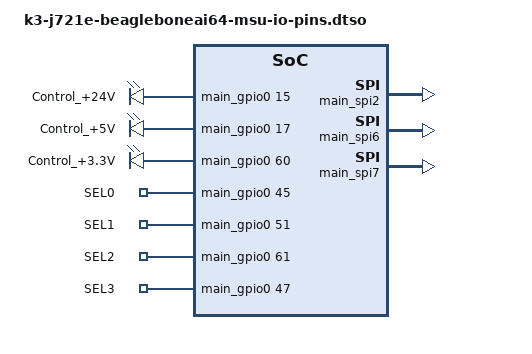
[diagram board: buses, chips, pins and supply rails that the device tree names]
// SPDX-License-Identifier: GPL-2.0-only OR MIT
/*
 * Original Copyright:
 * Copyright (C) 2026 Pranav Raja
 * DT Overlay for GPIOs
 * P8.15 & P8.18 GPIOs are enabled with this overlay.
 * Make sure the IO pins you are enabling are not being used by any other overlay.
 *
 * Copyright (c) D. Dudley <dudleyd@frib.msu.edu>, Michigan State University
 * Revisions:
 * 1. Started as io-pins
 * 2. Convert to Fragment format
 * 3. Incorporate new I/O pins structure
 *
 *  *
 * DT Overlay for GPIOs
 * P8.07 (24VON) [AD24],
 * P8.09 (5VON) [AE24],
 * P8.11 (3V3ON) [AB24],
 * P8.15 (SEL2) [AB29],
 * P8.26 (SEL1) [AC27],
 * P9.12 (SEL0) [AE27],
 * & P9.15 (SEL3) [AD25],
 *  GPIOs are enabled with this overlay.
 * Make sure the IO pins you are enabling are not being used by any other overlay.
 *
 * In addition, the SPI channels that are needed are incorporated in this
 *
 * SPI Definitions as defined in this overlay
 *
 * SPI0 - no clk or d0 pins.
 *  spi0.d1 = P9.17(0)
 *  spi0.cs0 = P8.33(0)
 *  spi0.cs2 = P9.42(2)
 *  spi0.cs3 = P9.27(2)
 *
 * SPI1 - no cs available on P8/P9.  Available on mikrobus connector
 *  spi1.clk = P9.26(0)
 *  spi1.d0 = P9.24(0)
 *  spi1.d1 = P9.18(0)
 *
 * SPI2
 *  spi2.d0 = P9.25(4)
 *  spi2.clk = P9.27(4)
 *  spi2.d1 = O9.41(4)
 *  spi2.cs0 = P9.42(4)
 *  spi2.cs3 = P9.28(4)
 *
 * SPI3 - no d1 pin, conflicts with spi6
 *  spi3.cs0 = P8.40(4)
 *  spi3.cs1 = P9.31(4)
 *  spi3.cs2 = P9.29(4)
 *  spi3.cs3 = P8.28(4)
 *  spi3.clk = P8.46(4)
 *  spi3,c9 = O9.40(4)
 *
 * SPI4 Not Available
 *
 * SPI5 Not Available
 *
 * SPI6
 *  spi6.clk = P9.22(4)
 *  spi6.d0 = P9.21(4)
 *  spi6.d1 = P9.18(4)
 *  spi6.cs0 = P9.17(4)
 *  spi6.cs1 = P9.23(4)
 *  spi6.cs2 = P8.37(4)
 *  spi6.cs3 - P8.21(4)
 *
 * SPI7
 *  spi7.cs0 = P9.28(6)
 *  spi7.d1 = P9.29(6)
 *  spi7.d0 = P9.30(6)
 *  spi7,clk = P9.31(6)
 *
 * Only certain combinations are valid
 *
 */


//
// This selects which SPI channels to include in here.
// 0 = don't include 1 = include

// No sclk or d0
#define WITH_SPI0 0

// Also on mikroBus.  No cs on connectors
#define WITH_SPI1 0

// Usable with cs0 - interferes with spi6
#define WITH_SPI2 1

// Can have cs0,cs1,cs2,cs3 no d1 (output only?)
#define WITH_SPI3 0

// SPI Channels 4 and 5 don't come out the headers
//

// One for normal use.  Could be defined with cs0,cs1,cs2,and cs3
#define WITH_SPI6 1

// Full channel with cs0
#define WITH_SPI7 1


/dts-v1/;
/plugin/;

#include <dt-bindings/gpio/gpio.h>
#include "ti/k3-pinctrl.h"


/
{
/*
 * Helper to show loaded overlays under: /proc/device-tree/chosen/overlays/
*/
    fragment@0
    {
        target-path = "/chosen";
        __overlay__
        {
            overlays
            {
   				msu-io-pins.kernel = __TIMESTAMP__;
                msu-iopins-bbai64-overlay.kernel = "msu-iopins-bbai64-overlay@600000 ";
#if WITH_SPI1
   				mcspi1-cs0.kernel = __TIMESTAMP__;
				mcspi1.2110000.spi = "msu-iopins-bbai64-overlay-spi-mcspi1-cs0.2110000";
#endif
#if WITH_SPI2
                mcspi2-cs0.kernel = __TIMESTAMP__;
                mcspi2.2120000.spi = "msu-iopins-bbai64-spi-mcspi2-cs0.2120000";
#endif
#if WITH_SPI3
                mcspi3-cs0.kernel = __TIMESTAMP__;
                mcspi3.2130000.spi = "msu-iopins-bbai64-overlay-spi-mcspi3-cs0.2130000";
#endif
#if WITH_SPI6
   				mcspi6-cs0-cs1.kernel = __TIMESTAMP__;
				mcspi6.2160000.spi = "msu-iopins-bbai64-overlay-spi-mcspi6-cs0-cs1.2160000";
#endif
#if WITH_SPI7
                spi-mcspi7-cs0.kernel = __TIMESTAMP__;
                mcspi7.2170000.spi = "msu-iopins-bbai64-overlay-spi-mcspi7-cs0.2170000";
#endif
            };
        };
    };

    /* ==================== PINMUX ==================== */
    fragment@1
    {
        target = <&main_pmx0>;
        __overlay__
        {
            sel_pins: pinmux_sel_pins
            {
                pinctrl-single,pins = <
                    // J721E_IOPAD(0x4, PIN_INPUT, 7) /* P9_11 (AC23) PRG1_PRU0_GPO0.GPIO0_1 */
                    // J721E_IOPAD(0x8, PIN_INPUT, 7) /* P9_13 (AG22) PRG1_PRU0_GPO1.GPIO0_2 */
                    // J721E_IOPAD(0xc, PIN_INPUT, 7) /* P8_17 (AF22) PRG1_PRU0_GPO2.GPIO0_3 */
                    // J721E_IOPAD(0x10, PIN_INPUT, 7) /* P8_18 (AJ23) PRG1_PRU0_GPO3.GPIO0_4 */
                    // J721E_IOPAD(0x14, PIN_INPUT, 7) /* P8_22 (AH23) PRG1_PRU0_GPO4.GPIO0_5 */
                    // J721E_IOPAD(0x18, PIN_INPUT, 7) /* P8_24 (AD20) PRG1_PRU0_GPO5.GPIO0_6 */
                    // J721E_IOPAD(0x1c, PIN_INPUT, 7) /* P8_34 (AD22) PRG1_PRU0_GPO6.GPIO0_7 */
                    // J721E_IOPAD(0x20, PIN_INPUT, 7) /* P8_36 (AE20) PRG1_PRU0_GPO7.GPIO0_8 */
                    // J721E_IOPAD(0x24, PIN_INPUT, 7) /* P8_38b (AJ20) PRG1_PRU0_GPO8.GPIO0_9 */
                    // J721E_IOPAD(0x28, PIN_INPUT, 7) /* P9_23 (AG20) PRG1_PRU0_GPO9.GPIO0_10 */
                    // J721E_IOPAD(0x2c, PIN_INPUT, 7) /* P8_37b (AD21) PRG1_PRU0_GPO10.GPIO0_11 */
                    // J721E_IOPAD(0x30, PIN_INPUT, 7)  /* P9_26b (AF24) PRG1_PRU0_GPO11.GPIO0_12 */
                    // J721E_IOPAD(0x34, PIN_INPUT, 7)  /* P9_24b (AJ24) PRG1_PRU0_GPO12.GPIO0_13 */
                    // J721E_IOPAD(0x38, PIN_INPUT, 7) /* P8_08 (AG24) PRG1_PRU0_GPO13.GPIO0_14 */
                    J721E_IOPAD(0x3c, PIN_OUTPUT_PULLUP | PIN_DRIVE_STRENGTH_FAST, 7) /* P8_07 (AD24) PRG1_PRU0_GPO14.GPIO0_15 */
                    // J721E_IOPAD(0x40, PIN_INPUT, 7) /* P8_10 (AC24) PRG1_PRU0_GPO15.GPIO0_16 */
                    J721E_IOPAD(0x44, PIN_OUTPUT_PULLUP | PIN_DRIVE_STRENGTH_FAST, 7) /* P8_09 (AE24) PRG1_PRU0_GPO16.GPIO0_17 */
                    // conflicts EQEP0_A J721E_IOPAD(0x4c, PIN_INPUT, 7) /* P9_42b (AJ21) PRG1_PRU0_GPO17.GPIO0_18 */
                    // J721E_IOPAD(0x54, PIN_INPUT, 7) /* P8_03 (AH21) PRG1_PRU0_GPO19.GPIO0_20 */
                    // EQEP1_A J721E_IOPAD(0x64, PIN_INPUT, 7)  /* P8_35a (AD23) PRG1_PRU1_GPO3.GPIO0_24 */
                    // EQEP1_B J721E_IOPAD(0x68, PIN_INPUT, 7)  /* P8_33a (AH24) PRG1_PRU1_GPO4.GPIO0_25 */
                    // J721E_IOPAD(0x6c, PIN_INPUT, 7) /* P8_32a (AG21) PRG1_PRU1_GPO5.GPIO0_26 */
                    // J721E_IOPAD(0x74, PIN_INPUT, 7)  /* P9_17a (AC21) PRG1_PRU1_GPO7.GPIO0_28 */
                    // J721E_IOPAD(0x7c, PIN_INPUT, 7) /* P8_21 (AF21) PRG1_PRU1_GPO9.GPIO0_30 */
                    // J721E_IOPAD(0x80, PIN_INPUT, 7) /* P8_23 (AB23) PRG1_PRU1_GPO10.GPIO0_31 */
                    // J721E_IOPAD(0x84, PIN_INPUT, 7) /* P8_31a (AJ25) PRG1_PRU1_GPO11.GPIO0_32 */
                    // J721E_IOPAD(0x88, PIN_INPUT, 7) /* P8_05 (AH25) PRG1_PRU1_GPO12.GPIO0_33 */
                    // J721E_IOPAD(0x8c, PIN_INPUT, 7) /* P8_06 (AG25) PRG1_PRU1_GPO13.GPIO0_34 */
                    // J721E_IOPAD(0x90, PIN_INPUT, 7) /* P8_25 (AH26) PRG1_PRU1_GPO14.GPIO0_35 */
                    // J721E_IOPAD(0x9c, PIN_INPUT, 7) /* P9_22a (AC22) PRG1_PRU1_GPO17.GPIO0_38 */
                    // J721E_IOPAD(0xa0, PIN_INPUT, 7) /* P9_21a (AJ22) PRG1_PRU1_GPO18.GPIO0_39 */
                    // J721E_IOPAD(0xa4, PIN_INPUT, 7)  /* P9_18a (AH22) PRG1_PRU1_GPO19.GPIO0_40 */
                    // J721E_IOPAD(0xb0, PIN_INPUT, 7)  /* P9_28b (AF28) PRG0_PRU0_GPO0.GPIO0_43 */
                    // J721E_IOPAD(0xb4, PIN_INPUT, 7)  /* P9_30b (AE28) PRG0_PRU0_GPO1.GPIO0_44 */
                    J721E_IOPAD(0xb8, PIN_OUTPUT_PULLUP | PIN_DRIVE_STRENGTH_FAST, 7) /* P9_12 (AE27) PRG0_PRU0_GPO2.GPIO0_45 */
                    // conflicts EQEP0_B J721E_IOPAD(0xbc, PIN_INPUT, 7)  /* P9_27a (AD26) PRG0_PRU0_GPO3.GPIO0_46 */
                    J721E_IOPAD(0xc0, PIN_OUTPUT_PULLUP | PIN_DRIVE_STRENGTH_FAST, 7) /* P9_15 (AD25) PRG0_PRU0_GPO4.GPIO0_47 */
                    // J721E_IOPAD(0xc4, PIN_INPUT, 7) /* P8_04 (AC29) PRG0_PRU0_GPO5.GPIO0_48 */
                    // J721E_IOPAD(0xcc, PIN_INPUT, 7) /* P9_33b (AC28) PRG0_PRU0_GPO7.GPIO0_50 */
                    J721E_IOPAD(0xd0, PIN_OUTPUT_PULLUP | PIN_DRIVE_STRENGTH_FAST, 7) /* P8_26 (AC27) PRG0_PRU0_GPO8.GPIO0_51 */
                    // J721E_IOPAD(0xd4, PIN_INPUT, 7)  /* P9_31b (AB26) PRG0_PRU0_GPO9.GPIO0_52 */
                    // J721E_IOPAD(0xd8, PIN_INPUT, 7)  /* P9_29b (AB25) PRG0_PRU0_GPO10.GPIO0_53 */
                    // J721E_IOPAD(0xdc, PIN_INPUT, 7) /* P9_39b (AJ28) PRG0_PRU0_GPO11.GPIO0_54 */
                    // J721E_IOPAD(0xe0, PIN_INPUT, 7) /* P9_35b (AH27) PRG0_PRU0_GPO12.GPIO0_55 */
                    // J721E_IOPAD(0xe4, PIN_INPUT, 7) /* P9_36b (AH29) PRG0_PRU0_GPO13.GPIO0_56 */
                    // UART4_RX J721E_IOPAD(0xe8, PIN_INPUT, 7)  /* P9_37b (AG28) PRG0_PRU0_GPO14.GPIO0_57 */
                    // UART4_TX J721E_IOPAD(0xec, PIN_INPUT, 7)  /* P9_38b (AG27) PRG0_PRU0_GPO15.GPIO0_58 */
                    // J721E_IOPAD(0xf0, PIN_INPUT, 7) /* P8_12 (AH28) PRG0_PRU0_GPO16.GPIO0_59 */
                    J721E_IOPAD(0xf4, PIN_OUTPUT_PULLUP | PIN_DRIVE_STRENGTH_FAST, 7) /* P8_11 (AB24) PRG0_PRU0_GPO17.GPIO0_60 */
                    J721E_IOPAD(0xf8, PIN_OUTPUT_PULLUP | PIN_DRIVE_STRENGTH_FAST, 7) /* P8_15 (AB29) PRG0_PRU0_GPO18.GPIO0_61 */
                    // J721E_IOPAD(0xfc, PIN_INPUT, 7) /* P8_16 (AB28) PRG0_PRU0_GPO19.GPIO0_62 */
                    // J721E_IOPAD(0x100, PIN_INPUT, 7) /* P8_31b (AE29) PRG0_PRU1_GPO0.GPIO0_63 */
                    // J721E_IOPAD(0x104, PIN_INPUT, 7) /* P8_32b (AD28) PRG0_PRU1_GPO1.GPIO0_64 */
                    // J721E_IOPAD(0x108, PIN_INPUT, 7) /* P8_43 (AD27) PRG0_PRU1_GPO2.GPIO0_65 */
                    // J721E_IOPAD(0x10c, PIN_INPUT, 7) /* P8_44 (AC25) PRG0_PRU1_GPO3.GPIO0_66 */
                    // J721E_IOPAD(0x110, PIN_INPUT, 7) /* P8_41 (AD29) PRG0_PRU1_GPO4.GPIO0_67 */
                    // J721E_IOPAD(0x114, PIN_INPUT, 7) /* P8_42 (AB27) PRG0_PRU1_GPO5.GPIO0_68 */
                    // J721E_IOPAD(0x118, PIN_INPUT, 7) /* P8_39 (AC26) PRG0_PRU1_GPO6.GPIO0_69 */
                    // J721E_IOPAD(0x11c, PIN_INPUT, 7) /* P8_40 (AA24) PRG0_PRU1_GPO7.GPIO0_70 */
                    // J721E_IOPAD(0x120, PIN_INPUT, 7) /* P8_27 (AA28) PRG0_PRU1_GPO8.GPIO0_71 */
                    // UART8_RX J721E_IOPAD(0x124, PIN_INPUT, 7)  /* P8_28 (Y24) PRG0_PRU1_GPO9.GPIO0_72 */
                    // UART8_TX J721E_IOPAD(0x128, PIN_INPUT, 7)  /* P8_29 (AA25) PRG0_PRU1_GPO10.GPIO0_73 */
                    // J721E_IOPAD(0x12c, PIN_INPUT, 7) /* P8_30 (AG26) PRG0_PRU1_GPO11.GPIO0_74 */
                    // J721E_IOPAD(0x130, PIN_INPUT, 7) /* P8_14 (AF27) PRG0_PRU1_GPO12.GPIO0_75 */
                    // J721E_IOPAD(0x134, PIN_INPUT, 7) /* P8_20 (AF26) PRG0_PRU1_GPO13.GPIO0_76 */
                    // J721E_IOPAD(0x138, PIN_INPUT, 7)  /* P9_20b (AE25) PRG0_PRU1_GPO14.GPIO0_77 */
                    // J721E_IOPAD(0x13c, PIN_INPUT, 7)  /* P9_19b (AF29) PRG0_PRU1_GPO15.GPIO0_78 */
                    // J721E_IOPAD(0x140, PIN_INPUT, 7) /* P8_45 (AG29) PRG0_PRU1_GPO16.GPIO0_79 */
                    // J721E_IOPAD(0x144, PIN_INPUT, 7) /* P8_46 (Y25) PRG0_PRU1_GPO17.GPIO0_80 */
                    // J721E_IOPAD(0x148, PIN_INPUT, 7) /* P9_40b(AA26) PRG0_PRU1_GPO18.GPIO0_81 */
                    // J721E_IOPAD(0x164, PIN_INPUT, 7) /* P8_19 (V29) RGMII5_TD2.GPIO0_88 */
                    // J721E_IOPAD(0x168, PIN_INPUT, 7) /* P8_13 (V27) RGMII5_TD1.GPIO0_89 */
                    // J721E_IOPAD(0x16c, PIN_INPUT, 7) /* P9_21b (U28) RGMII5_TD0.GPIO0_90 */
                    // J721E_IOPAD(0x170, PIN_INPUT, 7) /* P9_22b (U29) RGMII5_TXC.GPIO0_91 */
                    // UART6_RX J721E_IOPAD(0x178, PIN_INPUT, 7)  /* P9_14 (U27) RGMII5_RD3.GPIO0_93 */
                    // UART6_TX J721E_IOPAD(0x17c, PIN_INPUT, 7)  /* P9_16 (U24) RGMII5_RD2.GPIO0_94 */
                    // J721E_IOPAD(0x1a4, PIN_INPUT, 7)  /* P9_25b (W26) RGMII6_RXC.GPIO0_104 */
                    // J721E_IOPAD(0x1a8, PIN_INPUT, 7) /* P8_38a (Y29) RGMII6_RD3.GPIO0_105 */
                    // J721E_IOPAD(0x1ac, PIN_INPUT, 7) /* P8_37a (Y27) RGMII6_RD2.GPIO0_106 */
                    // conflicts EQEP1_B J721E_IOPAD(0x1c0, PIN_INPUT, 7) /* P8_33b (AA2) SPI0_CS0.GPIO0_111 */
                    // J721E_IOPAD(0x1d0, PIN_INPUT, 7) /* P9_17b (AA3) SPI0_D1.GPIO0_115 */
                    // conflicts EQEP1_A J721E_IOPAD(0x1d4, PIN_INPUT, 7) /* P8_35b (Y3) SPI1_CS0.GPIO0_116 */
                    // J721E_IOPAD(0x1dc, PIN_INPUT, 7) /* P9_26a (Y1) SPI1_CLK.GPIO0_118 */
                    // J721E_IOPAD(0x1e0, PIN_INPUT, 7) /* P9_24a (Y5) SPI1_D0.GPIO0_119 */
                    // J721E_IOPAD(0x1e4, PIN_INPUT, 7) /* P9_18b (Y2) SPI1_D1.GPIO0_120 */
                    // EQEP0_A J721E_IOPAD(0x1f0, PIN_INPUT, 7) /* P9_42a (AC2) UART0_CTSn.GPIO0_123 */
                    // EQEP0_B J721E_IOPAD(0x1f4, PIN_INPUT, 7) /* P9_27b (AB1) UART0_RTSn.GPIO0_124 */
                    // J721E_IOPAD(0x200, PIN_INPUT, 7) /* P9_25a (AC4) UART1_CTSn.GPIO0_127 */
                >;
            };
#if SKIP
            msu_sel: msu_sel_pins
            {
                pinctrl-single,pins = <
                     J721E_IOPAD(0x204, PIN_INPUT, 7) /* P9_41 (AD5) UART1_RTSn.GPIO1_0 */
                     J721E_IOPAD(0x208, PIN_INPUT, 7)  /* P9_19a (W5) MCAN0_RX.GPIO1_1 */
                     J721E_IOPAD(0x20c, PIN_INPUT, 7)  /* P9_20a (W6) MCAN0_TX.GPIO1_2 */
                     J721E_IOPAD(0x230, PIN_INPUT, 7)  /* P9_28a (U2) ECAP0_IN_APWM_OUT.GPIO1_11 */
                     J721E_IOPAD(0x234, PIN_INPUT, 7)  /* P9_31a (U3) EXT_REFCLK1.GPIO1_12 */
                     J721E_IOPAD(0x238, PIN_INPUT, 7)  /* P9_30a (V6) TIMER_IO0.GPIO1_13 */
                     J721E_IOPAD(0x23c, PIN_INPUT, 7)  /* P9_29a (V5) TIMER_IO1.GPIO1_14 */
                >;
            };
#endif
        };
    };

    /* ==================== GPIO HELPER ==================== */

    fragment@2
    {
         target-path = "/";

         __overlay__
         {
             leds
             {
                pinctrl-names = "default";
                pinctrl-0 = <&sel_pins>;
                compatible = "gpio-leds";

                24VON       // P8.7 [AD24] - gpio0-15
                {
                    label = "Control_+24V";
                    gpios = <&main_gpio0 15 GPIO_ACTIVE_HIGH>;
                    default-state = "off";
                };
                5VON        // P8.9 [AE24] - gpio0-17
                {
                    label = "Control_+5V";
                    gpios = <&main_gpio0 17 GPIO_ACTIVE_HIGH>;
                    default-state = "off";
                };
                3V3ON       // P8.11 [AB24] - gpio0-60
                {
                    label = "Control_+3.3V";
                    gpios = <&main_gpio0 60 GPIO_ACTIVE_HIGH>;
                    default-state = "off";
                };
                sel0        // P9.12 [AE27] - gpio0-45
                {
                    label = "SEL0";
                    gpios = <&main_gpio0 45 GPIO_ACTIVE_HIGH>;
                    default-state = "off";
                };
                sel1        // P8.26 [AC27] - gpio0-51
                {
                    label = "SEL1";
                    gpios = <&main_gpio0 51 GPIO_ACTIVE_HIGH>;
                    default-state = "off";
                };
                sel2        // P8.15  [AB29]
                {
                    label = "SEL2";
                    gpios = <&main_gpio0 61 GPIO_ACTIVE_HIGH>;
                    default-state = "off";
                };
                sel3        //P9.15  [AD25]
                {
                    label = "SEL3";
                    gpios = <&main_gpio0 47 GPIO_ACTIVE_HIGH>;
                    default-state = "off";
                };
            };
         };
    };

    /* This stuff is from SPI6-CS0-CS1 */

	fragment@3
	{
		target = <&main_i2c6>;
		__overlay__
		{
			status = "disable";
		};
	};

    fragment@4
	{
		target = <&main_i2c4>;
		__overlay__
		{
			status = "disable";
		};
	};

	fragment@5
	{
		target = <&main_pmx0>;

		__overlay__
		{
#if WITH_SPI1
			mcspi1_cs0_pins: mcspi1-cs0-pins
			{
                pinctrl-single,pins =
                <
                    /* Used TI SysConfig app to generate these, had manually adjust output modes */
                    J721E_IOPAD(0x1dc, PIN_OUTPUT, 0) /* (Y1) SPI1_CLK P9_26a*/
                    J721E_IOPAD(0x1d4, PIN_OUTPUT, 0) /* (Y3) SPI1_CS0 P8_35b*/
                    J721E_IOPAD(0x1e0, PIN_OUTPUT, 0) /* (Y5) SPI1_D0 P9_24a*/
                    J721E_IOPAD(0x1e4, PIN_INPUT, 0)  /* (Y2) SPI1_D1 P9_18b......Conflicts with SPI6_D1*/

                    /* Disable SoC pins that share same BB header pins */
                    J721E_IOPAD(0x30, PIN_DISABLE, 7) /* (AF24) disable P9_26b */
                    J721E_IOPAD(0x64, PIN_DISABLE, 7) /* (AD23) disable P835a  */
                    J721E_IOPAD(0x34, PIN_DISABLE, 7) /* (AJ24) disable P9_24b */
                    J721E_IOPAD(0xA4, PIN_DISABLE, 7) /* (AH22) disable P9_18a */
                >;
			};
#endif
#if WITH_SPI2
            mcspi2_cs_zero: mcspi2-cs0-pins
            {
                pinctrl-single,pins =
                <
                    /* Used TI SysConfig app to generate these, had manually adjust output modes */
                    J721E_IOPAD(0x1f4, PIN_OUTPUT, 4) /* (AB1) UART0_RTSn.SPI2_CLK */
                    J721E_IOPAD(0x1f0, PIN_OUTPUT, 4) /* (AC2) UART0_CTSn.SPI2_CS0 */
                    J721E_IOPAD(0x200, PIN_OUTPUT, 4) /* (AC4) UART1_CTSn.SPI2_D0 */
                    J721E_IOPAD(0x204, PIN_INPUT, 4) /* (AD5) UART1_RTSn.SPI2_D1 */

                    /* Disable SoC pins that share same BB header pins */
                    /* This pin conflics*/
                    J721E_IOPAD(0xbc, PIN_DISABLE, 7) /* (AD26) disable P9_27a */
                    J721E_IOPAD(0x4c, PIN_DISABLE, 7) /* (AJ21) disable P9_42b */
                    J721E_IOPAD(0x1A4, PIN_DISABLE, 7) /* (W26) disable P9_25b */
                >;
            };
#endif
#if WITH_SPI3
            mcspi3_cs_zero: mcspi3-cs0-pins
            {
                pinctrl-single,pins =
                <
                    /* Used TI SysConfig app to generate these, had manually adjust output modes */
                    J721E_IOPAD(0x144, PIN_OUTPUT, 4) /* (Y25) PRG0_PRU1_GPO17.SPI3_CLK P8_46 */
                    J721E_IOPAD(0x11c, PIN_OUTPUT, 4) /* (AA24) PRG0_PRU1_GPO7.SPI3_CS0 P8_40*/
                    J721E_IOPAD(0x148, PIN_OUTPUT, 4) /* (AA26) PRG0_PRU1_GPO18.SPI3_D0 P9_40b*/

            /* Disable SoC pins that share same BB header pins
             *
             * Turns out there is no P9_40a pin connected to the main domain. You may be tempted to disable the pad K26
             * using the J721E_WKUP_IOPAD() macro. It turns out in actuality this disables P8_20. MCU pad K26 and main domain
             * pad AF2,as seen from the processor datasheet, happen to have the same address 11c134. It turns out the
             * J721E_IOPAD() and J721E_WKUP_IOPAD() marcos are the same. They do not do anything different.
             *
            */
                >;
            };
#endif

#if WITH_SPI6
			mcspi6_pins:mcspi6-pins
			{
                pinctrl-single,pins =
                <
                    /* Used TI SysConfig app to generate these, had manually adjust output modes */
                    J721E_IOPAD(0x9c, PIN_OUTPUT, 4) /* (AC22) PRG1_PRU1_GPO17.SPI6_CLK P9_22a */
                    J721E_IOPAD(0x74, PIN_OUTPUT, 4) /* (AC21) PRG1_PRU1_GPO7.SPI6_CS0 P9_17a */
                    J721E_IOPAD(0xa0, PIN_OUTPUT, 4) /* (AJ22) PRG1_PRU1_GPO18.SPI6_D0 MOSI P9_21a */
                    J721E_IOPAD(0xa4, PIN_INPUT, 4) /* (AH22) PRG1_PRU1_GPO19.SPI6_D1 MISO P9_18a */
                    J721E_IOPAD(0x28, PIN_OUTPUT, 4) /* (AG20) PRG1_PRU1_GPO8.SPI6_CS1 P9_23 */

                    /* Disable SoC pins that share same BB header pins */
                    /* These pins conflict */
                    J721E_IOPAD(0x170, PIN_DISABLE, 7) /* (U29) disable P9_22b */
                    J721E_IOPAD(0x1D0, PIN_DISABLE, 7) /* (AA3) disable P9_17b */
                    J721E_IOPAD(0x16C, PIN_DISABLE, 7) /* (U28) disable P9_21b */
                    J721E_IOPAD(0x1E4, PIN_DISABLE, 7) /* (Y2) disable P9_18b */
                    /* No conflicting pad for P9_23 (AG20), so no disable needed */
                >;
			};
#endif

#if WITH_SPI7
            mcspi7_cs_zero: mcspi7-cs0-pins
            {
                pinctrl-single,pins =
                <
                    J721E_IOPAD(0x234, PIN_OUTPUT, 6) /* (U3) EXT_REFCLK1.SPI7_CLK P9_31a*/
                    J721E_IOPAD(0xD4, PIN_DISABLE, 7) /* (AB26) disable p9_31b */
                    J721E_IOPAD(0x230, PIN_OUTPUT, 6) /* (U2) ECAP0_IN_APWM_OUT.SPI7_CS0 P9_28a */
                    J721E_IOPAD(0xB0, PIN_DISABLE, 7) /* (AF28) disable p9_28b */
                    J721E_IOPAD(0x238, PIN_OUTPUT, 6) /* (V6) TIMER_IO0.SPI7_D0 MOSI P9_30a */
                    J721E_IOPAD(0xB4, PIN_DISABLE, 7) /* (AE28) disable P9_30b */
                    J721E_IOPAD(0x23c, PIN_INPUT, 6) /* (V5) TIMER_IO1.SPI7_D1 MISO P9_29a */
                    J721E_IOPAD(0xD8, PIN_DISABLE, 7) /* (AB25) disable p9_29b */
                >;
            };
#endif
        };
	};

#if WITH_SPI1
    // Heres the fragment for spi1
	fragment@6
	{
		target = <&main_spi1>;

		__overlay__
		{
			#address-cells = <0x01>;
			#size-cells = <0x00>;
			pinctrl-names = "default";
			pinctrl-0 = <&mcspi1_cs0_pins>;
			ti,spi-num-cs = <1>;
			ti,pindir-d0-out-d1-in;
			status = "okay";

			channel@0
			{
				symlink = "bone/spi/1.0";
				compatible = "rohm,dh2228fv";
				reg = <0x00>;
				spi-max-frequency = <0x7735940>;
			};
		};
	};
#endif

#if WITH_SPI2
    // Fragment for spi2
    fragment@7
    {
        target = <&main_spi2>;
        __overlay__
        {
            #address-cells = <1>;
            #size-cells = <0>;
            pinctrl-names = "default";
            pinctrl-0 = <&mcspi2_cs_zero>;
            ti,spi-num-cs = <1>;
            ti,pindir-d0-out-d1-in;
            status = "okay";

            /* When controlling SPI from outside linux, you may want to delete this spidev stuff */
            channel@0
            {
                symlink = "bone/spi/2.0"; /* /dev/bone/spi/2.0 */
                compatible = "rohm,dh2228fv";
                reg = <0>; /* CE0 */
                spi-max-frequency = <125000000>;
            };
        };
    };
#endif

#if WITH_SPI3
    // Heres the fragment for spi3
    fragment@8
    {
        target = <&main_spi3>;

        __overlay__
        {
            #address-cells = <1>;
            #size-cells = <0>;
            pinctrl-names = "default";
            pinctrl-0 = <&mcspi3_cs_zero>;
            ti,spi-num-cs = <1>; /* With this number wrong, no spi device would get created, error seen with `sudo journalctl -k` */
            ti,pindir-d0-out-d1-in; /* d1 is not really an input, the pin is not muxed */
            status = "okay";

            /* When controlling SPI from outside linux, you may want to delete this spidev stuff */
            channel@0
            {
                symlink = "bone/spi/3.0_no_miso"; /* /dev/bone/spi/3.0_no_miso */
                compatible = "rohm,dh2228fv";
                reg = <0>; /* CE0 */
                spi-max-frequency = <125000000>;
            };
        };
    };
#endif

#if WITH_SPI6
    // Heres the fragment for spi6
	fragment@9
	{
		target = <&main_spi6>;

		__overlay__
		{
			#address-cells = <0x01>;
			#size-cells = <0x00>;
			pinctrl-names = "default";
			pinctrl-0 = <&mcspi6_pins>;
			ti,spi-num-cs = <2>;     // Support 2 chip selects
			ti,pindir-d0-out-d1-in;
			status = "okay";

			channel@0
			{
				symlink = "bone/spi/6.0";
				compatible = "rohm,dh2228fv";
				reg = <0>;
				spi-max-frequency = <125000000>;
			};

			channel@1
			{
				symlink = "bone/spi/6.1";
				compatible = "rohm,dh2228fv";
				reg = <1>;
				spi-max-frequency = <125000000>;
			};
		};
	};
#endif


#if WITH_SPI7
    // and the fragment for spi7
    fragment@10
    {
        target = <&main_spi7>;

        __overlay__
        {
            #address-cells = <1>;
            #size-cells = <0>;
            pinctrl-names = "default";
            pinctrl-0 = <&mcspi7_cs_zero>;
            ti,spi-num-cs = <1>;
            ti,pindir-d0-out-d1-in;
            status = "okay";

            /* When controlling SPI from outside linux, you may want to delete this spidev stuff */
            channel@0
            {
                symlink = "bone/spi/7.0";
                compatible = "rohm,dh2228fv";
                reg = <0>; /* CE0 */
                spi-max-frequency = <125000000>;
            };
        };
    };
#endif
};


